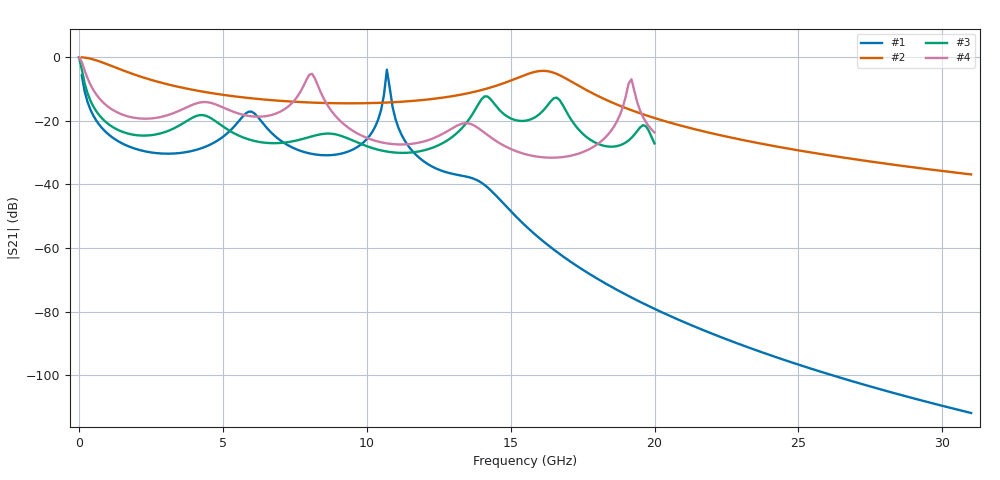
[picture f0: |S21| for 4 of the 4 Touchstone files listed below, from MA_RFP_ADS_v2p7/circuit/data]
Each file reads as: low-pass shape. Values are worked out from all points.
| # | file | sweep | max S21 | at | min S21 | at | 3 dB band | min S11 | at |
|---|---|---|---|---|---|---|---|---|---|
| 1 | MA_RFP_ADS_v2p7_CGH21240_Package_Input_Model.s2p | 100 MHz to 31 GHz | -3.92 dB | 10.7 GHz | -111.9 dB | 31 GHz | 100 MHz-100 MHz | -2.3 dB | 10.7 GHz |
| 2 | MA_RFP_ADS_v2p7_CGH21240_Package_Output_Model.s2p | 100 MHz to 31 GHz | -0.03 dB | 100 MHz | -36.9 dB | 31 GHz | 100 MHz-1.2 GHz | -21.6 dB | 100 MHz |
| 3 | MA_RFP_ADS_v2p7_CGHV50200F_IMN_S2P.s2p | 100 kHz to 20 GHz | -0.01 dB | 100 kHz | -30.1 dB | 11.3 GHz | 100 kHz-1 MHz | -56.6 dB | 100 kHz |
| 4 | MA_RFP_ADS_v2p7_CGHV50200F_OMN_S2P.s2p | 1 MHz to 20 GHz | -0.01 dB | 1 MHz | -31.6 dB | 16.4 GHz | 1 MHz-100 MHz | -43.9 dB | 1 MHz |
